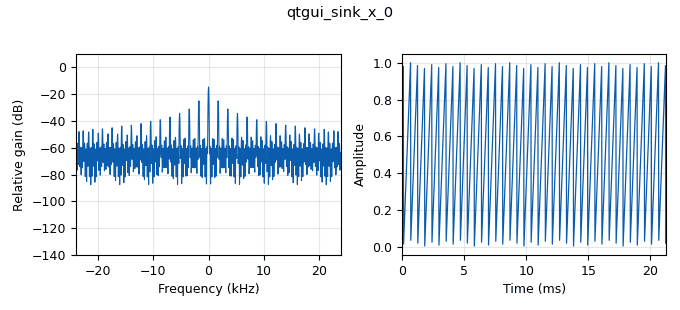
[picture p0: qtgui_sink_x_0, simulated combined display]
options:
  parameters:
    generate_options: qt_gui
    id: first
    output_language: python
    title: GNURadio-Seminar First Demo
  states: {}

blocks:
- name: samp_rate
  id: variable
  parameters:
    value: '48000'
  states: {}
- name: analog_sig_source_x_0
  id: analog_sig_source_x
  parameters:
    amp: '1'
    freq: '1750'
    offset: '0'
    phase: '0'
    samp_rate: samp_rate
    type: float
    waveform: analog.GR_SAW_WAVE
  states: {}
- name: audio_sink_0
  id: audio_sink
  parameters:
    device_name: default
    samp_rate: '48000'
  states: {}
- name: qtgui_sink_x_0
  id: qtgui_sink_x
  parameters:
    bw: samp_rate
    fc: '0'
    fftsize: '1024'
    type: float
  states: {}

connections:
- [analog_sig_source_x_0, '0', audio_sink_0, '0']
- [analog_sig_source_x_0, '0', qtgui_sink_x_0, '0']

metadata:
  file_format: 1
  grc_version: 3.10.9.2
